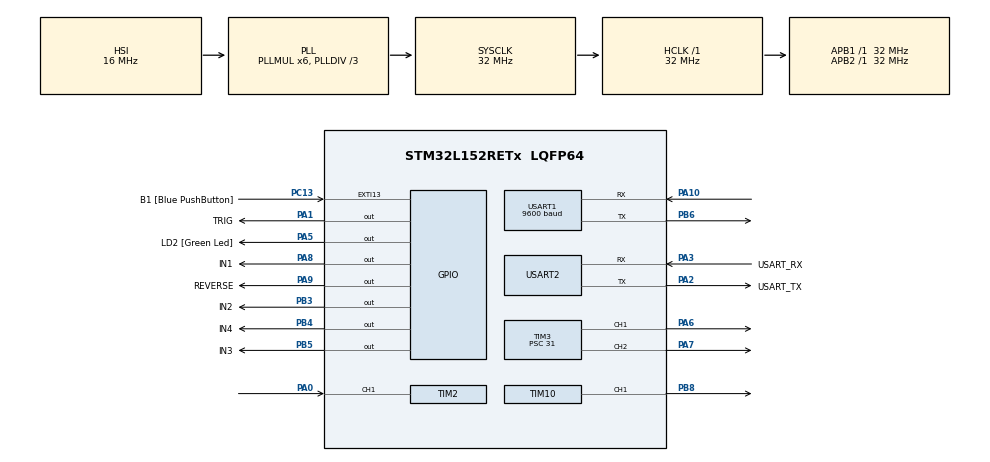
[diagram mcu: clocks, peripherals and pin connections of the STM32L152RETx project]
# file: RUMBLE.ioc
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Mcu.Family=STM32L1
Mcu.Name=STM32L152RETx
Mcu.Package=LQFP64
NVIC.PriorityGroup=NVIC_PRIORITYGROUP_0
NVIC.TIM2_IRQn=true\:0\:0\:false\:false\:true\:true\:true\:true
NVIC.TIM4_IRQn=true\:0\:0\:false\:false\:true\:true\:true\:true
NVIC.TIM5_IRQn=true\:0\:0\:false\:false\:true\:true\:true\:true
NVIC.USART1_IRQn=true\:0\:0\:false\:false\:true\:true\:true\:true
PA0-WKUP1.Signal=S_TIM2_CH1_ETR
PA1.GPIO_Label=TRIG
PA1.Signal=GPIO_Output
PA10.Mode=Asynchronous
PA10.Signal=USART1_RX
PA13.GPIO_Label=TMS
PA13.Mode=Serial_Wire
PA13.Signal=SYS_JTMS-SWDIO
PA14.GPIO_Label=TCK
PA14.Mode=Serial_Wire
PA14.Signal=SYS_JTCK-SWCLK
PA2.GPIO_Label=USART_TX
PA2.Mode=Asynchronous
PA2.Signal=USART2_TX
PA3.GPIO_Label=USART_RX
PA3.Mode=Asynchronous
PA3.Signal=USART2_RX
PA5.GPIO_Label=LD2 [Green Led]
PA5.Signal=GPIO_Output
PA6.Signal=S_TIM3_CH1
PA7.Signal=S_TIM3_CH2
PA8.GPIO_Label=IN1
PA8.Signal=GPIO_Output
PA9.GPIO_Label=REVERSE
PA9.Signal=GPIO_Output
PB3.GPIO_Label=IN2
PB3.Signal=GPIO_Output
PB4.GPIO_Label=IN4
PB4.Signal=GPIO_Output
PB5.GPIO_Label=IN3
PB5.Signal=GPIO_Output
PB6.Mode=Asynchronous
PB6.Signal=USART1_TX
PB8.Signal=S_TIM10_CH1
PC13-WKUP2.GPIO_Label=B1 [Blue PushButton]
PC13-WKUP2.Signal=GPXTI13
PC14-OSC32_IN.Mode=LSE-External-Oscillator
PC14-OSC32_IN.Signal=RCC_OSC32_IN
PC15-OSC32_OUT.Mode=LSE-External-Oscillator
PC15-OSC32_OUT.Signal=RCC_OSC32_OUT
PH0-OSC_IN.Mode=HSE-External-Clock-Source
PH0-OSC_IN.Signal=RCC_OSC_IN
PH1-OSC_OUT.Signal=RCC_OSC_OUT
ProjectManager.HeapSize=0x200
ProjectManager.StackSize=0x400
ProjectManager.TargetToolchain=STM32CubeIDE
RCC.48MHZClocksFreq_Value=48000000
RCC.AHBFreq_Value=32000000
RCC.APB1Freq_Value=32000000
RCC.APB1TimFreq_Value=32000000
RCC.APB2Freq_Value=32000000
RCC.APB2TimFreq_Value=32000000
RCC.HCLKFreq_Value=32000000
RCC.HSE_VALUE=8000000
RCC.HSI_VALUE=16000000
RCC.MSI_VALUE=2097000
RCC.PLLDIV=RCC_PLL_DIV3
RCC.PLLMUL=RCC_PLL_MUL6
RCC.RTCClockSelectionVirtual=RCC_RTCCLKSOURCE_LSE
RCC.SYSCLKFreq_VALUE=32000000
RCC.SYSCLKSource=RCC_SYSCLKSOURCE_PLLCLK
RCC.USBOutput=48000000
RCC.VCOOutputFreq_Value=96000000
SH.S_TIM10_CH1.0=TIM10_CH1,PWM Generation1 CH1
SH.S_TIM2_CH1_ETR.0=TIM2_CH1,Input_Capture1_from_TI1
SH.S_TIM3_CH1.0=TIM3_CH1,PWM Generation1 CH1
SH.S_TIM3_CH2.0=TIM3_CH2,PWM Generation2 CH2
TIM10.Channel=TIM_CHANNEL_1
TIM10.Period=399
TIM10.Prescaler=31
TIM2.Channel-Input_Capture1_from_TI1=TIM_CHANNEL_1
TIM2.ICPolarity_CH1=TIM_INPUTCHANNELPOLARITY_BOTHEDGE
TIM2.Prescaler=31
TIM3.Channel-PWM\ Generation1\ CH1=TIM_CHANNEL_1
TIM3.Channel-PWM\ Generation2\ CH2=TIM_CHANNEL_2
TIM3.Period=126
TIM3.Prescaler=31
TIM4.Period=299
TIM4.Prescaler=31999
TIM5.Channel-Output\ Compare2\ No\ Output=TIM_CHANNEL_2
TIM5.Prescaler=31
USART1.BaudRate=9600
USART1.VirtualMode=VM_ASYNC
USART2.VirtualMode=VM_ASYNC
VP_TIM3_VS_ClockSourceINT.Mode=Internal
VP_TIM4_VS_ClockSourceINT.Mode=Internal
VP_TIM5_VS_ClockSourceINT.Mode=Internal
VP_TIM5_VS_no_output2.Mode=Output Compare2 No Output
board=NUCLEO-L152RE

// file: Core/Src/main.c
/* USER CODE BEGIN Header */
/**
  ******************************************************************************
  * @file           : main.c
  * @brief          : Main program body
  ******************************************************************************
  * @attention
  *
  * Copyright (c) 2026 STMicroelectronics.
  * All rights reserved.
  *
  * This software is licensed under terms that can be found in the LICENSE file
  * in the root directory of this software component.
  * If no LICENSE file comes with this software, it is provided AS-IS.
  *
  ******************************************************************************
  */
/* USER CODE END Header */
#include "main.h"

/* USER CODE BEGIN Includes */
#include <stdlib.h>
#include <stdio.h>
#include <string.h>
/* USER CODE END Includes */

TIM_HandleTypeDef htim2;
TIM_HandleTypeDef htim3;
TIM_HandleTypeDef htim4;
TIM_HandleTypeDef htim5;
TIM_HandleTypeDef htim10;

UART_HandleTypeDef huart1;
UART_HandleTypeDef huart2;

/* USER CODE BEGIN PV */
/*
 * How the car works (overview)
 * ----------------------------
 * The PC (pc_controller/fin.py) sends a 6-byte packet over Bluetooth (USART1, 9600 baud)
 * every time the gamepad changes:
 *
 *     'y' <throttle>  'x' <steering>  'h' <horn>
 *     0x79  byte 1   0x78  byte 3   0x68  byte 5
 *
 * Y = throttle, X = steering, both -127..127 (Y: forward = +, reverse = -; X: right = +):
 *     0..127   -> positive, value as is
 *     128..254 -> negative, -(value - 127)   (so 128 = -1, 254 = -127)
 *
 * Drive (car-style, in the USART1 callback): the outer wheel gets the throttle, the inner wheel
 * slows down in proportion to the steering (full lock = inner wheel stops, never reverses):
 *     X > 0 (right):  left = Y,                    right = Y * (127 - X) / 127
 *     X < 0 (left):   left = Y * (127 + X) / 127,  right = Y
 * No throttle = no movement. Dead zones, sensitivity and the minimum speed are applied on the PC,
 * so tuning never needs a re-flash.
 * Horn byte: 1 while the gamepad A button is held, else 0.
 *
 * Everything runs in interrupt callbacks (bottom of this file):
 *   USART1 RX  -> decode packet, set motor PWM (TIM3), reverse lights + buzzer
 *   TIM4 (300 ms) -> trigger the HC-SR04 distance sensor, blink while reversing
 *   TIM5 (10 us)  -> end the sensor trigger pulse
 *   TIM2 capture  -> measure the echo pulse width = distance
 * The main while(1) loop only sends debug/status text and sleeps (__WFI).
 */

/* Values from the last Bluetooth packet (written in the USART1 interrupt) */
volatile int y = 0;          // throttle, -127..127 (forward = +, reverse = -)
volatile int x = 0;          // steering, -127..127 (right = +)
volatile int h = 0;          // horn: 1 = A button held -> buzzer on
uint8_t bt_byte[64];         // receive buffer for the Bluetooth UART

/* Flags: an interrupt sets them to 1, the main loop handles them and clears them */
volatile uint8_t new_dist_ready = 0;   // a new distance measurement is ready
volatile uint8_t new_bt_ready = 0;     // a new Bluetooth packet was received

/* HC-SR04 ultrasonic distance sensor (echo measured with TIM2 input capture, 1 tick = 1 us) */
volatile uint32_t t_start = 0;         // timer value at the echo rising edge
volatile uint32_t t_stop = 0;          // timer value at the echo falling edge
volatile uint8_t  edge_flag = 0;       // 0 = waiting for rising edge, 1 = waiting for falling edge
volatile uint32_t echo_width = 0;      // echo pulse length in us
volatile uint32_t distance = 999;      // distance in cm (echo_width / 58)

/* Reversing: lights (PA9) and buzzer blink while both motors run backwards */
volatile uint8_t is_reversing = 0;     // 1 = both motor speeds < 0
volatile uint8_t rev_blink_state = 0;  // 1 = lights/buzzer currently on, toggles every 0.9 s
volatile uint8_t rev_tick_counter = 0; // counts TIM4 ticks (300 ms each) between toggles
/* USER CODE END PV */

void SystemClock_Config(void);
static void MX_GPIO_Init(void);
static void MX_USART2_UART_Init(void);
static void MX_TIM3_Init(void);
static void MX_USART1_UART_Init(void);
static void MX_TIM2_Init(void);
static void MX_TIM4_Init(void);
static void MX_TIM5_Init(void);
static void MX_TIM10_Init(void);
/* USER CODE BEGIN PFP */
void SetSpeedRight(int speed);  // right wheel, -127..127 (H-bridge IN1/IN2, PWM on TIM3 CH1)
void SetSpeedLeft(int speed);   // left wheel,  -127..127 (H-bridge IN3/IN4, PWM on TIM3 CH2)
/* USER CODE END PFP */

/* USER CODE BEGIN 0 */
/* Sets the reverse lights and the buzzer from the current state (h, is_reversing,
 * rev_blink_state). Called after every Bluetooth packet and on every blink toggle. */
static inline void Update_Reverse_And_Buzzer(void)
{
  // 1. Reverse lights (REVERSE_Pin = PA9): blink ~1 s on / ~1 s off, only while both motors < 0
  if (is_reversing && rev_blink_state)
  {
    HAL_GPIO_WritePin(REVERSE_GPIO_Port, REVERSE_Pin, GPIO_PIN_SET);
  }
  else
  {
    HAL_GPIO_WritePin(REVERSE_GPIO_Port, REVERSE_Pin, GPIO_PIN_RESET);
  }

  // 2. Passive buzzer on PB8 (TIM10 CH1 PWM, 1 MHz / 400 = 2.5 kHz tone):
  //    - A button held (h != 0) -> continuous tone
  //    - reversing              -> tone blinks together with the lights
  //    NOTE: a passive buzzer needs a square wave. Compare 400 with Period 399 = 100% duty
  //    (pin always high), which is probably silent. 200 would give 50% duty. Test on the car.
  if (h != 0 || (is_reversing && rev_blink_state))
  {
    __HAL_TIM_SET_COMPARE(&htim10, TIM_CHANNEL_1, 400);
  }
  else
  {
    __HAL_TIM_SET_COMPARE(&htim10, TIM_CHANNEL_1, 0);
  }
}
/* USER CODE END 0 */

int main(void)
{

  /* MCU Configuration--------------------------------------------------------*/

  /* Reset of all peripherals, Initializes the Flash interface and the Systick. */
  HAL_Init();

  /* Configure the system clock */
  SystemClock_Config();

  /* Initialize all configured peripherals */
  MX_GPIO_Init();
  MX_USART2_UART_Init();
  MX_TIM3_Init();
  MX_USART1_UART_Init();
  MX_TIM2_Init();
  MX_TIM4_Init();
  MX_TIM5_Init();
  MX_TIM10_Init();
  /* USER CODE BEGIN 2 */
  // Motor PWM: TIM3, 1 MHz tick, Period 126 -> 127 steps, so speed 0..127 maps to 0..100% duty
  HAL_TIM_PWM_Start(&htim3, TIM_CHANNEL_1);   // right motor
  HAL_TIM_PWM_Start(&htim3, TIM_CHANNEL_2);   // left motor

  HAL_TIM_IC_Start_IT(&htim2, TIM_CHANNEL_1); // distance sensor echo measurement
  HAL_TIM_Base_Start_IT(&htim4);              // 300 ms tick: sensor trigger + reverse blinking

  HAL_TIM_PWM_Start(&htim10, TIM_CHANNEL_2);
  HAL_TIM_PWM_Start(&htim10, TIM_CHANNEL_1);  // buzzer
  __HAL_TIM_SET_COMPARE(&htim10, TIM_CHANNEL_1, 0);   // buzzer off at start

  // Debug console on the PC (USART2 = Nucleo USB cable)
  char start_msg[] = "STM32 ready! Waiting for Bluetooth data...\r\n";
  HAL_UART_Transmit(&huart2, (uint8_t*)start_msg, strlen(start_msg), 100);

  // Start receiving Bluetooth packets; HAL_UARTEx_RxEventCallback runs when a packet has arrived
  HAL_UARTEx_ReceiveToIdle_IT(&huart1, bt_byte, sizeof(bt_byte));
  /* USER CODE END 2 */

  /* Infinite loop */
  while (1)
    {

    /* USER CODE BEGIN 3 */
	  // No control logic here: interrupts do the work and set flags, this loop only sends text.

	  // New Bluetooth packet -> print it on the PC debug console (USART2)
	  if (new_bt_ready)
		  {
			new_bt_ready = 0;
			static char debug_msg[96];
			if (huart2.gState == HAL_UART_STATE_READY)
			{
			  int len = snprintf(debug_msg, sizeof(debug_msg),
				  "BT RX: [%02X %02X %02X %02X %02X %02X] -> Y=%d, X=%d\r\n",
				  bt_byte[0], bt_byte[1], bt_byte[2], bt_byte[3], bt_byte[4], bt_byte[5], y, x);
			  HAL_UART_Transmit_IT(&huart2, (uint8_t*)debug_msg, len);
			}
		  }

		  // New distance -> tell the PC over Bluetooth (fin.py rumbles the gamepad on CLOSE)
		  if (new_dist_ready)
		  {
			new_dist_ready = 0;
			if (huart1.gState == HAL_UART_STATE_READY)
			{
			  static uint8_t is_close = 0;   // hysteresis: CLOSE below 20 cm, CLEAR only above 25 cm
			  if (!is_close && distance > 0 && distance < 20) is_close = 1;
			  else if (is_close && distance > 25)             is_close = 0;
			  HAL_UART_Transmit_IT(&huart1, (uint8_t*)(is_close ? "CLOSE\n" : "CLEAR\n"), 6);
			}
		  }

		  __WFI(); // Sleep CPU until next interrupt
  /* USER CODE END 3 */
    }
}

void SystemClock_Config(void)
{
  RCC_OscInitTypeDef RCC_OscInitStruct = {0};
  RCC_ClkInitTypeDef RCC_ClkInitStruct = {0};

  /** Configure the main internal regulator output voltage
  */
  __HAL_PWR_VOLTAGESCALING_CONFIG(PWR_REGULATOR_VOLTAGE_SCALE1);

  /** Initializes the RCC Oscillators according to the specified parameters
  * in the RCC_OscInitTypeDef structure.
  */
  RCC_OscInitStruct.OscillatorType = RCC_OSCILLATORTYPE_HSI;
  RCC_OscInitStruct.HSIState = RCC_HSI_ON;
  RCC_OscInitStruct.HSICalibrationValue = RCC_HSICALIBRATION_DEFAULT;
  RCC_OscInitStruct.PLL.PLLState = RCC_PLL_ON;
  RCC_OscInitStruct.PLL.PLLSource = RCC_PLLSOURCE_HSI;
  RCC_OscInitStruct.PLL.PLLMUL = RCC_PLL_MUL6;
  RCC_OscInitStruct.PLL.PLLDIV = RCC_PLL_DIV3;
  if (HAL_RCC_OscConfig(&RCC_OscInitStruct) != HAL_OK)
  {
    Error_Handler();
  }

  /** Initializes the CPU, AHB and APB buses clocks
  */
  RCC_ClkInitStruct.ClockType = RCC_CLOCKTYPE_HCLK|RCC_CLOCKTYPE_SYSCLK
                              |RCC_CLOCKTYPE_PCLK1|RCC_CLOCKTYPE_PCLK2;
  RCC_ClkInitStruct.SYSCLKSource = RCC_SYSCLKSOURCE_PLLCLK;
  RCC_ClkInitStruct.AHBCLKDivider = RCC_SYSCLK_DIV1;
  RCC_ClkInitStruct.APB1CLKDivider = RCC_HCLK_DIV1;
  RCC_ClkInitStruct.APB2CLKDivider = RCC_HCLK_DIV1;

  if (HAL_RCC_ClockConfig(&RCC_ClkInitStruct, FLASH_LATENCY_1) != HAL_OK)
  {
    Error_Handler();
  }
}

static void MX_TIM2_Init(void)
{

  TIM_MasterConfigTypeDef sMasterConfig = {0};
  TIM_IC_InitTypeDef sConfigIC = {0};

  htim2.Instance = TIM2;
  htim2.Init.Prescaler = 31;
  htim2.Init.CounterMode = TIM_COUNTERMODE_UP;
  htim2.Init.Period = 65535;
  htim2.Init.ClockDivision = TIM_CLOCKDIVISION_DIV1;
  htim2.Init.AutoReloadPreload = TIM_AUTORELOAD_PRELOAD_DISABLE;
  if (HAL_TIM_IC_Init(&htim2) != HAL_OK)
  {
    Error_Handler();
  }
  sMasterConfig.MasterOutputTrigger = TIM_TRGO_RESET;
  sMasterConfig.MasterSlaveMode = TIM_MASTERSLAVEMODE_DISABLE;
  if (HAL_TIMEx_MasterConfigSynchronization(&htim2, &sMasterConfig) != HAL_OK)
  {
    Error_Handler();
  }
  sConfigIC.ICPolarity = TIM_INPUTCHANNELPOLARITY_BOTHEDGE;
  sConfigIC.ICSelection = TIM_ICSELECTION_DIRECTTI;
  sConfigIC.ICPrescaler = TIM_ICPSC_DIV1;
  sConfigIC.ICFilter = 10;
  if (HAL_TIM_IC_ConfigChannel(&htim2, &sConfigIC, TIM_CHANNEL_1) != HAL_OK)
  {
    Error_Handler();
  }

}

static void MX_TIM3_Init(void)
{

  TIM_ClockConfigTypeDef sClockSourceConfig = {0};
  TIM_MasterConfigTypeDef sMasterConfig = {0};
  TIM_OC_InitTypeDef sConfigOC = {0};

  htim3.Instance = TIM3;
  htim3.Init.Prescaler = 31;
  htim3.Init.CounterMode = TIM_COUNTERMODE_UP;
  htim3.Init.Period = 126;
  htim3.Init.ClockDivision = TIM_CLOCKDIVISION_DIV1;
  htim3.Init.AutoReloadPreload = TIM_AUTORELOAD_PRELOAD_DISABLE;
  if (HAL_TIM_Base_Init(&htim3) != HAL_OK)
  {
    Error_Handler();
  }
  sClockSourceConfig.ClockSource = TIM_CLOCKSOURCE_INTERNAL;
  if (HAL_TIM_ConfigClockSource(&htim3, &sClockSourceConfig) != HAL_OK)
  {
    Error_Handler();
  }
  if (HAL_TIM_PWM_Init(&htim3) != HAL_OK)
  {
    Error_Handler();
  }
  sMasterConfig.MasterOutputTrigger = TIM_TRGO_RESET;
  sMasterConfig.MasterSlaveMode = TIM_MASTERSLAVEMODE_DISABLE;
  if (HAL_TIMEx_MasterConfigSynchronization(&htim3, &sMasterConfig) != HAL_OK)
  {
    Error_Handler();
  }
  sConfigOC.OCMode = TIM_OCMODE_PWM1;
  sConfigOC.Pulse = 0;
  sConfigOC.OCPolarity = TIM_OCPOLARITY_HIGH;
  sConfigOC.OCFastMode = TIM_OCFAST_DISABLE;
  if (HAL_TIM_PWM_ConfigChannel(&htim3, &sConfigOC, TIM_CHANNEL_1) != HAL_OK)
  {
    Error_Handler();
  }
  if (HAL_TIM_PWM_ConfigChannel(&htim3, &sConfigOC, TIM_CHANNEL_2) != HAL_OK)
  {
    Error_Handler();
  }
  HAL_TIM_MspPostInit(&htim3);

}

static void MX_TIM4_Init(void)
{

  TIM_ClockConfigTypeDef sClockSourceConfig = {0};
  TIM_MasterConfigTypeDef sMasterConfig = {0};

  htim4.Instance = TIM4;
  htim4.Init.Prescaler = 31999;
  htim4.Init.CounterMode = TIM_COUNTERMODE_UP;
  htim4.Init.Period = 299;
  htim4.Init.ClockDivision = TIM_CLOCKDIVISION_DIV1;
  htim4.Init.AutoReloadPreload = TIM_AUTORELOAD_PRELOAD_DISABLE;
  if (HAL_TIM_Base_Init(&htim4) != HAL_OK)
  {
    Error_Handler();
  }
  sClockSourceConfig.ClockSource = TIM_CLOCKSOURCE_INTERNAL;
  if (HAL_TIM_ConfigClockSource(&htim4, &sClockSourceConfig) != HAL_OK)
  {
    Error_Handler();
  }
  sMasterConfig.MasterOutputTrigger = TIM_TRGO_RESET;
  sMasterConfig.MasterSlaveMode = TIM_MASTERSLAVEMODE_DISABLE;
  if (HAL_TIMEx_MasterConfigSynchronization(&htim4, &sMasterConfig) != HAL_OK)
  {
    Error_Handler();
  }

}

static void MX_TIM5_Init(void)
{

  TIM_ClockConfigTypeDef sClockSourceConfig = {0};
  TIM_MasterConfigTypeDef sMasterConfig = {0};
  TIM_OC_InitTypeDef sConfigOC = {0};

  htim5.Instance = TIM5;
  htim5.Init.Prescaler = 31;
  htim5.Init.CounterMode = TIM_COUNTERMODE_UP;
  htim5.Init.Period = 4294967295;
  htim5.Init.ClockDivision = TIM_CLOCKDIVISION_DIV1;
  htim5.Init.AutoReloadPreload = TIM_AUTORELOAD_PRELOAD_DISABLE;
  if (HAL_TIM_Base_Init(&htim5) != HAL_OK)
  {
    Error_Handler();
  }
  sClockSourceConfig.ClockSource = TIM_CLOCKSOURCE_INTERNAL;
  if (HAL_TIM_ConfigClockSource(&htim5, &sClockSourceConfig) != HAL_OK)
  {
    Error_Handler();
  }
  if (HAL_TIM_OC_Init(&htim5) != HAL_OK)
  {
    Error_Handler();
  }
  sMasterConfig.MasterOutputTrigger = TIM_TRGO_RESET;
  sMasterConfig.MasterSlaveMode = TIM_MASTERSLAVEMODE_DISABLE;
  if (HAL_TIMEx_MasterConfigSynchronization(&htim5, &sMasterConfig) != HAL_OK)
  {
    Error_Handler();
  }
  sConfigOC.OCMode = TIM_OCMODE_TIMING;
  sConfigOC.Pulse = 0;
  sConfigOC.OCPolarity = TIM_OCPOLARITY_HIGH;
  sConfigOC.OCFastMode = TIM_OCFAST_DISABLE;
  if (HAL_TIM_OC_ConfigChannel(&htim5, &sConfigOC, TIM_CHANNEL_2) != HAL_OK)
  {
    Error_Handler();
  }

}

static void MX_TIM10_Init(void)
{

  TIM_OC_InitTypeDef sConfigOC = {0};

  htim10.Instance = TIM10;
  htim10.Init.Prescaler = 31;
  htim10.Init.CounterMode = TIM_COUNTERMODE_UP;
  htim10.Init.Period = 399;
  htim10.Init.ClockDivision = TIM_CLOCKDIVISION_DIV1;
  htim10.Init.AutoReloadPreload = TIM_AUTORELOAD_PRELOAD_DISABLE;
  if (HAL_TIM_PWM_Init(&htim10) != HAL_OK)
  {
    Error_Handler();
  }
  sConfigOC.OCMode = TIM_OCMODE_PWM1;
  sConfigOC.Pulse = 0;
  sConfigOC.OCPolarity = TIM_OCPOLARITY_HIGH;
  sConfigOC.OCFastMode = TIM_OCFAST_DISABLE;
  if (HAL_TIM_PWM_ConfigChannel(&htim10, &sConfigOC, TIM_CHANNEL_1) != HAL_OK)
  {
    Error_Handler();
  }
  HAL_TIM_MspPostInit(&htim10);

}

static void MX_USART1_UART_Init(void)
{

  huart1.Instance = USART1;
  huart1.Init.BaudRate = 9600;
  huart1.Init.WordLength = UART_WORDLENGTH_8B;
  huart1.Init.StopBits = UART_STOPBITS_1;
  huart1.Init.Parity = UART_PARITY_NONE;
  huart1.Init.Mode = UART_MODE_TX_RX;
  huart1.Init.HwFlowCtl = UART_HWCONTROL_NONE;
  huart1.Init.OverSampling = UART_OVERSAMPLING_16;
  if (HAL_UART_Init(&huart1) != HAL_OK)
  {
    Error_Handler();
  }

}

static void MX_USART2_UART_Init(void)
{

  huart2.Instance = USART2;
  huart2.Init.BaudRate = 115200;
  huart2.Init.WordLength = UART_WORDLENGTH_8B;
  huart2.Init.StopBits = UART_STOPBITS_1;
  huart2.Init.Parity = UART_PARITY_NONE;
  huart2.Init.Mode = UART_MODE_TX_RX;
  huart2.Init.HwFlowCtl = UART_HWCONTROL_NONE;
  huart2.Init.OverSampling = UART_OVERSAMPLING_16;
  if (HAL_UART_Init(&huart2) != HAL_OK)
  {
    Error_Handler();
  }

}

static void MX_GPIO_Init(void)
{
  GPIO_InitTypeDef GPIO_InitStruct = {0};

  /* GPIO Ports Clock Enable */
  __HAL_RCC_GPIOC_CLK_ENABLE();
  __HAL_RCC_GPIOH_CLK_ENABLE();
  __HAL_RCC_GPIOA_CLK_ENABLE();
  __HAL_RCC_GPIOB_CLK_ENABLE();

  /*Configure GPIO pin Output Level */
  HAL_GPIO_WritePin(GPIOA, TRIG_Pin|LD2_Pin|IN1_Pin|REVERSE_Pin, GPIO_PIN_RESET);

  /*Configure GPIO pin Output Level */
  HAL_GPIO_WritePin(GPIOB, IN2_Pin|IN4_Pin|IN3_Pin, GPIO_PIN_RESET);

  /*Configure GPIO pin : B1_Pin */
  GPIO_InitStruct.Pin = B1_Pin;
  GPIO_InitStruct.Mode = GPIO_MODE_IT_RISING;
  GPIO_InitStruct.Pull = GPIO_NOPULL;
  HAL_GPIO_Init(B1_GPIO_Port, &GPIO_InitStruct);

  /*Configure GPIO pins : TRIG_Pin LD2_Pin IN1_Pin REVERSE_Pin */
  GPIO_InitStruct.Pin = TRIG_Pin|LD2_Pin|IN1_Pin|REVERSE_Pin;
  GPIO_InitStruct.Mode = GPIO_MODE_OUTPUT_PP;
  GPIO_InitStruct.Pull = GPIO_NOPULL;
  GPIO_InitStruct.Speed = GPIO_SPEED_FREQ_LOW;
  HAL_GPIO_Init(GPIOA, &GPIO_InitStruct);

  /*Configure GPIO pins : IN2_Pin IN4_Pin IN3_Pin */
  GPIO_InitStruct.Pin = IN2_Pin|IN4_Pin|IN3_Pin;
  GPIO_InitStruct.Mode = GPIO_MODE_OUTPUT_PP;
  GPIO_InitStruct.Pull = GPIO_NOPULL;
  GPIO_InitStruct.Speed = GPIO_SPEED_FREQ_LOW;
  HAL_GPIO_Init(GPIOB, &GPIO_InitStruct);

}

/* USER CODE BEGIN 4 */
void HAL_TIM_PeriodElapsedCallback(TIM_HandleTypeDef *htim)
{
  if (htim->Instance == TIM4)
  {
    // 1. Start the HC-SR04 trigger pulse: PA1 high now, TIM5 sets it low again after 10 us
    HAL_GPIO_WritePin(GPIOA, GPIO_PIN_1, GPIO_PIN_SET);
    __HAL_TIM_SET_COUNTER(&htim5, 0);
    __HAL_TIM_SET_COMPARE(&htim5, TIM_CHANNEL_2, 10);
    __HAL_TIM_CLEAR_FLAG(&htim5, TIM_FLAG_CC2);
    HAL_TIM_OC_Start_IT(&htim5, TIM_CHANNEL_2);

    // 2. Reverse blinking: toggle every 3 ticks (3 x 300 ms = 0.9 s).
    //    For exactly 1 s: set TIM4 Period = 249 (250 ms) and count to 4.
    if (is_reversing)
    {
      rev_tick_counter++;
      if (rev_tick_counter >= 3) // change to 4 if TIM4 Period = 249
      {
        rev_tick_counter = 0;
        rev_blink_state = !rev_blink_state;
        Update_Reverse_And_Buzzer();
      }
    }
  }
}

/* TIM5 compare, 10 us after the trigger started: end the HC-SR04 trigger pulse */
void HAL_TIM_OC_DelayElapsedCallback(TIM_HandleTypeDef *htim)
{
  if (htim->Instance == TIM5 && htim->Channel == HAL_TIM_ACTIVE_CHANNEL_2)
  {
    HAL_GPIO_WritePin(GPIOA, GPIO_PIN_1, GPIO_PIN_RESET);
    HAL_TIM_OC_Stop_IT(htim, TIM_CHANNEL_2);
  }
}

/* TIM2 input capture on the HC-SR04 echo pin (both edges, 1 tick = 1 us).
 * The pin level tells which edge it was, so a noise spike can never swap rising/falling.
 * Pulse width in us / 58 = distance in cm. */
void HAL_TIM_IC_CaptureCallback(TIM_HandleTypeDef *htim)
{
  if (htim->Instance == TIM2 && htim->Channel == HAL_TIM_ACTIVE_CHANNEL_1)
  {
    uint32_t t = HAL_TIM_ReadCapturedValue(htim, TIM_CHANNEL_1);

    if (HAL_GPIO_ReadPin(GPIOA, GPIO_PIN_0) == GPIO_PIN_SET)  // rising edge: echo starts
    {
      t_start = t;
      edge_flag = 1;
    }
    else if (edge_flag)                                        // falling edge: echo ends
    {
      t_stop = t;
      edge_flag = 0;
      echo_width = (t_stop >= t_start) ? (t_stop - t_start)
                                       : (htim->Instance->ARR + 1 - t_start + t_stop);
      distance = echo_width / 58;
      new_dist_ready = 1;
    }
  }
}

/* Clamp a motor speed to the PWM range -127..127 (TIM3 Period = 126 -> CCR 127 = 100%). */
static int Clamp_Speed(int speed)
{
	if (speed > 127)  return 127;
	if (speed < -127) return -127;
	return speed;
}

/* Right wheel. speed > 0 forward, < 0 backward, 0 stop (coast).
 * IN1/IN2 (PA8/PB3) set the H-bridge direction, |speed| is the PWM on TIM3 CH1 (PA6). */
void SetSpeedRight(int speed)
{
	speed = Clamp_Speed(speed);
	if (speed > 0)
	{
		HAL_GPIO_WritePin(IN1_GPIO_Port, IN1_Pin, GPIO_PIN_SET);
		HAL_GPIO_WritePin(IN2_GPIO_Port, IN2_Pin, GPIO_PIN_RESET);
	}
	else if (speed < 0)
	{
		HAL_GPIO_WritePin(IN1_GPIO_Port, IN1_Pin, GPIO_PIN_RESET);
		HAL_GPIO_WritePin(IN2_GPIO_Port, IN2_Pin, GPIO_PIN_SET);
	}

	else
	{
		HAL_GPIO_WritePin(IN1_GPIO_Port, IN1_Pin, GPIO_PIN_RESET);
		HAL_GPIO_WritePin(IN2_GPIO_Port, IN2_Pin, GPIO_PIN_RESET);
	}
	__HAL_TIM_SET_COMPARE(&htim3, TIM_CHANNEL_1, abs(speed));
}

/* Left wheel. Same as SetSpeedRight, but IN3/IN4 (PB5/PB4) and TIM3 CH2 (PA7). */
void SetSpeedLeft(int speed)
{
	speed = Clamp_Speed(speed);
	if (speed > 0)
	{
		HAL_GPIO_WritePin(IN3_GPIO_Port, IN3_Pin, GPIO_PIN_SET);
		HAL_GPIO_WritePin(IN4_GPIO_Port, IN4_Pin, GPIO_PIN_RESET);
	}
	else if (speed < 0)
	{
		HAL_GPIO_WritePin(IN3_GPIO_Port, IN3_Pin, GPIO_PIN_RESET);
		HAL_GPIO_WritePin(IN4_GPIO_Port, IN4_Pin, GPIO_PIN_SET);
	}

	else
	{
		HAL_GPIO_WritePin(IN3_GPIO_Port, IN3_Pin, GPIO_PIN_RESET);
		HAL_GPIO_WritePin(IN4_GPIO_Port, IN4_Pin, GPIO_PIN_RESET);
	}
	__HAL_TIM_SET_COMPARE(&htim3, TIM_CHANNEL_2, abs(speed));
}

/* USART1 (Bluetooth): a packet has arrived (line went idle). Size = number of bytes received.
 * Decodes it, drives the motors, updates lights/buzzer, flags the main loop. */
void HAL_UARTEx_RxEventCallback(UART_HandleTypeDef *huart, uint16_t Size)
{
	if (huart->Instance == USART1)
	{

		// Decode the 6-byte packet  'y' throttle 'x' steering 'h' horn  (see the overview at the top)
		// Bytes 128..254 are negative speeds: -(value - 127)
		if (Size >= 6 && bt_byte[0] == 'y')
		{
			y = bt_byte[1];
			if (y >= 128)
			{
				y = -1 * (y - 127);
			}
		}

		if (Size >= 6 && bt_byte[2] == 'x')
		{
			x = bt_byte[3];
			if (x >= 128)
			{
				x = -1 * (x - 127);
			}
		}

		// Horn: 1 while the A button is held
		if (Size >= 6 && bt_byte[4] == 'h')
		{
			h = bt_byte[5];
		}

		// Car-style drive: Y = throttle, X = steering. The outer wheel keeps the throttle, the
		// inner wheel slows down in proportion to X (full lock = it stops, it never reverses).
		// No dead zone here: the PC (fin.py) already sends exactly 0 while the stick is centred.
		int left  = Clamp_Speed(y);
		int right = Clamp_Speed(y);
		if(y==0){
			right = (6*x)/10;
			left = -(6*x)/10;

		}
		else if (x > 0)          // steer right: slow the right wheel
		{
		    right = y * (127 - x) / 127;
		}
		else if (x < 0)     // steer left: slow the left wheel
		{
		    left = y * (127 + x) / 127;
		}

		SetSpeedRight(right);
		SetSpeedLeft(left);

		// Reversing = negative throttle (the inner wheel can be 0 at full lock, so check Y, not the wheels)
		uint8_t new_reversing = (-y< 0) ? 1 : 0;
		if (new_reversing && !is_reversing)
		{
			// Reversing just started: lights and buzzer on immediately for the first period
			is_reversing = 1;
			rev_blink_state = 1;
			rev_tick_counter = 0;
		}
		else if (!new_reversing)
		{
			is_reversing = 0;
			rev_blink_state = 0;
			rev_tick_counter = 0;
		}

		Update_Reverse_And_Buzzer();

		new_bt_ready = 1;

		// Clear UART error flags (overrun, noise, framing) and start receiving the next packet
		__HAL_UART_CLEAR_OREFLAG(&huart1);
		__HAL_UART_CLEAR_NEFLAG(&huart1);
		__HAL_UART_CLEAR_FEFLAG(&huart1);
		HAL_UARTEx_ReceiveToIdle_IT(&huart1, bt_byte, sizeof(bt_byte));

	}
}
/* On a UART error, reception stops - restart it so the car keeps listening */
void HAL_UART_ErrorCallback(UART_HandleTypeDef *huart)
{
  if (huart->Instance == USART1)
  {
    __HAL_UART_CLEAR_OREFLAG(&huart1);
    HAL_UARTEx_ReceiveToIdle_IT(&huart1, bt_byte, sizeof(bt_byte));
  }
}
/* USER CODE END 4 */

void Error_Handler(void)
{
  __disable_irq();
  while (1)
  {
  }
}
